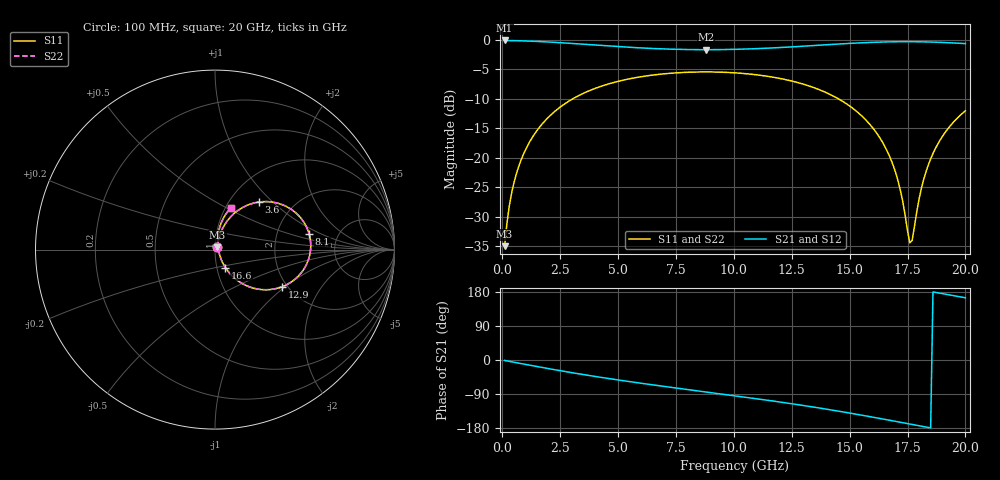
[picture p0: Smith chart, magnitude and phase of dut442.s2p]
! Touchstone file exported from HFSS 2026.1.0
!  File:  C:/ffzhzh/LocalFiles/Ansys_Project_Files/temp_train_TSV_RDL_442_1783098590_50312.aedt
!  Generated:  01:22:01 AM Jul  4, 2026
!  Design:  TSV_RDL
!  Project:  temp_train_TSV_RDL_442_1783098590_50312
! Variables:
!  h_bsmrdl = 5.03um
!  h_ox = 20um
!  h_rdl = 5um
!  h_sub = 92.91um
!  h_tmrdl = 4.12um
!  h_tsv = 92.91um
!  h_via = 3um
!  l_bsmrdl = 460.19um
!  l_sub = 2980.03um
!  l_tmrdl = 270um
!  m_sub = 200um
!  pitch = 59.95um
!  r_tsv = 11.59um
!  s_tmrdl = 10um
!  w_bsmrdl = 28.33um
!  w_sub = 500um
!  w_tmrdl = 11.49um
!  x_tsv_center1 = 275.745um
!  x_tsv_center2 = 764.265um
!  x_tsv_center3 = 1045.755um
!  x_tsv_center4 = 1534.275um
!  x_tsv_center5 = 1815.765um
!  x_tsv_center6 = 2304.285um
# GHz S MA R 50.000000
! Terminal data exported
! Port[1] = TM_RDL1_1_T1
! Port[2] = TM_RDL5_1_T1
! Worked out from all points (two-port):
!   200 points, 100 MHz to 20 GHz, reference 50 ohm
!   highest |S21| = -0.11 dB at 100 MHz (marker M1); lowest = -1.7 dB at 8.8 GHz (marker M2)
!   |S21| within 3 dB of the highest: start of sweep to end of sweep
!   lowest |S11| = -35.0 dB at 100 MHz (marker M3), VSWR 1.04, Z = 51.3 + j1.24 ohm
!   |S11| at or under -10 dB: start of sweep to 3.047 GHz; 14.51 GHz to end of sweep
!   |S22| runs from -35.0 to -5.4 dB; largest |S21 - S12| = 1.1e-13
!   S11 on the Smith chart (normalised r, x): 100 MHz: 1.03, +0.02; 3.6 GHz: 1.35, +0.82; 8.1 GHz: 3.06, +0.76; 12.9 GHz: 1.87, -0.95; 16.6 GHz: 1.10, -0.22; 20 GHz: 1.06, +0.53
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0.1  0.01783 42.6  0.9871 -1.2  0.9871 -1.2  0.01783 42.6
! Gamma 0 0 0 0
! Port Impedance 50 0 50 0
0.3  0.03882 65.6  0.9855 -3.6  0.9855 -3.6  0.03882 65.6
0.5  0.06114 70.3  0.9836 -5.9  0.9836 -5.9  0.06114 70.3
1.1  0.1275 70.1  0.9759 -12.8  0.9759 -12.8  0.1275 70.1
2.1  0.2313 61.8  0.9554 -23.9  0.9554 -23.9  0.2313 61.8
3.5  0.3517 48.4  0.9168 -38.5  0.9168 -38.5  0.3517 48.4
3.6  0.359 47.5  0.9139 -39.5  0.9139 -39.5  0.359 47.5
6.8  0.5104 19.8  0.8391 -68.2  0.8391 -68.2  0.5104 19.8
8.1  0.5314 9.6  0.8263 -78.7  0.8263 -78.7  0.5314 9.6
8.8  0.5342 4.2  0.8244 -84.4  0.8244 -84.4  0.5342 4.2
10.1  0.5239 -6.0  0.8305 -94.8  0.8305 -94.8  0.5239 -6.0
12.9  0.4265 -29.1  0.8799 -119.1  0.8799 -119.1  0.4265 -29.1
13.4  0.3968 -33.5  0.8924 -123.8  0.8924 -123.8  0.3968 -33.5
15.3  0.2475 -50.8  0.9387 -143.2  0.9387 -143.2  0.2475 -50.8
16.6  0.1164 -60.0  0.9595 -157.6  0.9595 -157.6  0.1164 -59.8
16.7  0.1057 -60.2  0.9605 -158.7  0.9605 -158.7  0.1057 -60.0
17.2  0.0523 -55.0  0.9634 -164.4  0.9634 -164.4  0.05241 -54.7
17.6  0.01905 -2.8  0.9637 -169.0  0.9637 -169.0  0.01936 -2.6
17.7  0.01991 29.4  0.9634 -170.1  0.9634 -170.1  0.02022 29.2
18.1  0.0551 74.3  0.9613 -174.7  0.9613 -174.7  0.05523 74.0
18.5  0.09786 78.6  0.9573 -179.2  0.9573 -179.2  0.09794 78.5
20  0.2503 69.2  0.9284 164.2  0.9284 164.2  0.2504 69.1
